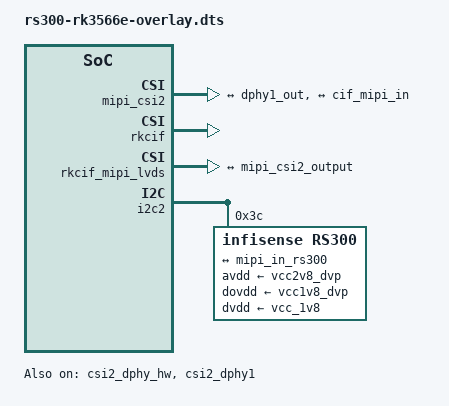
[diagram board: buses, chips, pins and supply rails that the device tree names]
// SPDX-License-Identifier: GPL-2.0
/*
 * Device tree overlay for RS300 thermal camera on Radxa ZERO 3W (RK3566E)
 *
 * Connection: RS300 50-pin → Mini2 MIPI adapter PCB (15-pin FPC)
 *             → 22-to-15 adapter cable → Zero 3W 22-pin CSI connector
 *
 * Pipeline: rs300 (i2c2@0x3c) → csi2_dphy1 (split mode, lanes 0-1)
 *           → mipi_csi2 host bridge → rkcif_mipi_lvds → /dev/videoN
 *
 * I2C bus: i2c2 (M1 mux) — routed to CSI connector pins 20/21
 *          → 22→15 adapter → FPC pins 13/14 → R6/R7 100Ω → camera I2C
 *
 * Reset: GPIO3_C1 (CAMERAB_PDN_L, VCCIO6 domain) — CSI connector pin 17
 *        → 22→15 adapter → FPC pin 11 (CAM_GPIO) → R3 100Ω → NRST
 *
 * Power: Camera is self-powered — CSI connector 3.3V → adapter board
 *        LN3608AR-G boost → 5V to camera module. The regulator-supply
 *        phandles below satisfy the driver's regulator_bulk_get() but
 *        do not actually power the camera (all are always-on PMIC rails).
 *
 * Clock: CIF_CLKOUT (GPIO4_C1) is on the 22-pin CSI connector (pin 18)
 *        but NOT routed through the 22→15 adapter cable (RPi CSI pinout
 *        has no clock output). RS300 uses an internal oscillator — the
 *        driver does not call clk_get(), so this is not a problem.
 *
 * Reference: Zero 3W V1.12 schematic (sheet 09, RK3566_VI Interface)
 *            Mini2(WN2) MIPI adapter schematic
 *            docs/kernel-research/kernel-reference/dt-bindings.md
 */

/dts-v1/;
/plugin/;

#include <dt-bindings/clock/rk3568-cru.h>
#include <dt-bindings/gpio/gpio.h>
#include <dt-bindings/pinctrl/rockchip.h>

/ {
	metadata {
		title = "Enable RS300 Thermal Camera";
		compatible = "radxa,zero3";
		category = "camera";
		exclusive = "csi2_dphy1";
		description = "Enable Infisense RS300 thermal camera via Mini2 MIPI adapter on CSI connector.";
	};
};

/* -----------------------------------------------------------------
 * CSI-2 D-PHY hardware block (shared register file at 0xfe870000).
 * Must be enabled when any of csi2_dphy0/1/2 are used.
 * ----------------------------------------------------------------- */
&csi2_dphy_hw {
	status = "okay";
};

/* -----------------------------------------------------------------
 * Disable full-mode DPHY (mutually exclusive with split mode).
 * csi2_dphy0 uses all 4 lanes; csi2_dphy1+2 each use 2 lanes.
 * ----------------------------------------------------------------- */
&csi2_dphy0 {
	status = "disabled";
};

/* -----------------------------------------------------------------
 * CSI-2 D-PHY split-mode instance 1 — physical lanes 0 & 1.
 * Used for a 2-lane sensor (RS300 uses 2 MIPI data lanes).
 * ----------------------------------------------------------------- */
&csi2_dphy1 {
	status = "okay";

	ports {
		#address-cells = <1>;
		#size-cells = <0>;

		/* port@0 — upstream (sensor) side */
		port@0 {
			reg = <0>;
			#address-cells = <1>;
			#size-cells = <0>;

			mipi_in_rs300: endpoint@1 {
				reg = <1>;
				remote-endpoint = <&rs300_out>;
				data-lanes = <1 2>;
			};
		};

		/* port@1 — downstream toward MIPI CSI-2 host bridge */
		port@1 {
			reg = <1>;
			#address-cells = <1>;
			#size-cells = <0>;

			dphy1_out: endpoint@1 {
				reg = <1>;
				remote-endpoint = <&mipi_csi2_input>;
			};
		};
	};
};

/* -----------------------------------------------------------------
 * MIPI CSI-2 host bridge (mipi_csi2 + mipi_csi2_hw in BSP).
 * Sits between D-PHY and RKCIF.
 * input endpoint is @1 (not @0) — BSP convention.
 * ----------------------------------------------------------------- */
&mipi_csi2 {
	status = "okay";

	ports {
		#address-cells = <1>;
		#size-cells = <0>;

		/* port@0 — input from D-PHY */
		port@0 {
			reg = <0>;
			#address-cells = <1>;
			#size-cells = <0>;

			mipi_csi2_input: endpoint@1 {
				reg = <1>;
				remote-endpoint = <&dphy1_out>;
				data-lanes = <1 2>;
			};
		};

		/* port@1 — output to RKCIF (single endpoint, no reg needed) */
		port@1 {
			reg = <1>;

			mipi_csi2_output: endpoint {
				remote-endpoint = <&cif_mipi_in>;
				data-lanes = <1 2>;
			};
		};
	};
};

/* -----------------------------------------------------------------
 * RKCIF hardware register block.
 * Must be enabled alongside rkcif_mmu.
 * ----------------------------------------------------------------- */
&rkcif {
	status = "okay";
};

/* -----------------------------------------------------------------
 * RKCIF MIPI/LVDS logical interface — the V4L2 video device.
 * ----------------------------------------------------------------- */
&rkcif_mipi_lvds {
	status = "okay";

	port {
		cif_mipi_in: endpoint {
			remote-endpoint = <&mipi_csi2_output>;
			data-lanes = <1 2>;
		};
	};
};

/* -----------------------------------------------------------------
 * RKCIF IOMMU — required for DMA to system RAM.
 * ----------------------------------------------------------------- */
&rkcif_mmu {
	status = "okay";
};

/* -----------------------------------------------------------------
 * RS300 sensor node on I2C bus 2 (M1 mux).
 *
 * Signal path (from Zero 3W V1.12 schematic, sheet 09):
 *   I2C2_SCL_M1 / I2C2_SDA_M1 (VCCIO6, 2.2K pull-ups to VCC_3V3)
 *   → CSI connector pins 20/21 → 22→15 adapter cable
 *   → FPC pins 13/14 → R6/R7 100Ω → camera I2C_SLV_SCK/SDA
 *
 * I2C address: 0x3c (7-bit).
 * ----------------------------------------------------------------- */
&i2c2 {
	status = "okay";
	pinctrl-names = "default";
	pinctrl-0 = <&i2c2m1_xfer>;
	#address-cells = <1>;
	#size-cells = <0>;

	rs300: rs300@3c {
		compatible = "infisense,rs300";
		reg = <0x3c>;

		/*
		 * Reference clock — RS300 has an internal oscillator and the
		 * driver does not call clk_get(). CIF_CLKOUT (GPIO4_C1) is on
		 * the 22-pin CSI connector (pin 18) but is NOT routed through
		 * the 22→15 adapter cable. Declared here for completeness.
		 */
		clocks = <&cru CLK_CIF_OUT>;
		clock-names = "xvclk";

		/*
		 * Power supplies — the camera is actually self-powered:
		 *   CSI connector VCC_3V3 (pin 22) → adapter board LN3608AR-G
		 *   boost converter → 5V to camera module (VDD_5V0_OUT)
		 *
		 * These PMIC phandles satisfy the driver's regulator_bulk_get()
		 * requirement. All three are always-on rails, so enable/disable
		 * calls are effectively no-ops — which is correct since the
		 * camera manages its own power from the 5V input.
		 */
		avdd-supply  = <&vcc2v8_dvp>;
		dovdd-supply = <&vcc1v8_dvp>;
		dvdd-supply  = <&vcc_1v8>;

		/*
		 * Reset GPIO — omitted. NRST on the RS300 has an internal
		 * pull-up and the datasheet says "leave floating if unused".
		 * GPIO3_C1 (CAMERAB_PDN_L) stays as default input; NRST
		 * floats high → camera runs normally without reset control.
		 *
		 * If reset control is needed later, add:
		 *   reset-gpios = <&gpio3 RK_PC1 GPIO_ACTIVE_LOW>;
		 * and fix the driver to use GPIOD_OUT_LOW (deasserted at
		 * probe), then pulse assert/deassert in power_on().
		 *
		 * Signal path: GPIO3_C1 → CSI pin 17 → 22→15 adapter
		 * → FPC pin 11 (CAM_GPIO) → R3 100Ω → NRST
		 */

		/* Rockchip camera module metadata consumed by camera HAL */
		rockchip,camera-module-index = <0>;
		rockchip,camera-module-facing = "back";
		rockchip,camera-module-name = "RS300";
		rockchip,camera-module-lens-name = "default";

		port {
			rs300_out: endpoint {
				remote-endpoint = <&mipi_in_rs300>;
				data-lanes = <1 2>;
				link-frequencies = /bits/ 64 <80000000>;
			};
		};
	};
};
